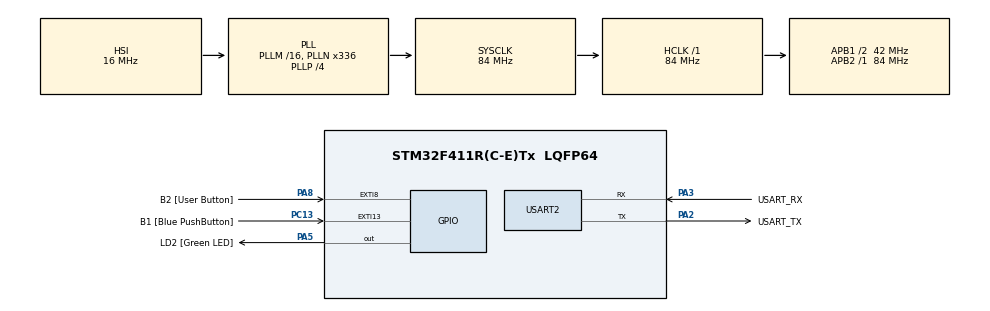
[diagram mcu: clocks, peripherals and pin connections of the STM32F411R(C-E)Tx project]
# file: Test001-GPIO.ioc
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Mcu.Family=STM32F4
Mcu.Name=STM32F411R(C-E)Tx
Mcu.Package=LQFP64
NVIC.EXTI15_10_IRQn=true\:0\:0\:false\:false\:true\:true\:true\:true
NVIC.EXTI9_5_IRQn=true\:0\:0\:false\:false\:true\:true\:true\:true
NVIC.PriorityGroup=NVIC_PRIORITYGROUP_0
PA13.GPIO_Label=TMS
PA13.Mode=Serial_Wire
PA13.Signal=SYS_JTMS-SWDIO
PA14.GPIO_Label=TCK
PA14.Mode=Serial_Wire
PA14.Signal=SYS_JTCK-SWCLK
PA2.GPIO_Label=USART_TX
PA2.Mode=Asynchronous
PA2.Signal=USART2_TX
PA3.GPIO_Label=USART_RX
PA3.Mode=Asynchronous
PA3.Signal=USART2_RX
PA5.GPIO_Label=LD2 [Green LED]
PA5.Signal=GPIO_Output
PA8.GPIO_Label=B2 [User Button]
PA8.Signal=GPXTI8
PB3.GPIO_Label=SWO
PB3.Signal=SYS_JTDO-SWO
PC13-ANTI_TAMP.GPIO_Label=B1 [Blue PushButton]
PC13-ANTI_TAMP.GPIO_ModeDefaultEXTI=GPIO_MODE_IT_FALLING
PC13-ANTI_TAMP.Signal=GPXTI13
PC14-OSC32_IN.Mode=LSE-External-Oscillator
PC14-OSC32_IN.Signal=RCC_OSC32_IN
PC15-OSC32_OUT.Mode=LSE-External-Oscillator
PC15-OSC32_OUT.Signal=RCC_OSC32_OUT
PH0\ -\ OSC_IN.Mode=HSE-External-Clock-Source
PH0\ -\ OSC_IN.Signal=RCC_OSC_IN
PH1\ -\ OSC_OUT.Mode=HSE-External-Clock-Source
PH1\ -\ OSC_OUT.Signal=RCC_OSC_OUT
ProjectManager.HeapSize=0x200
ProjectManager.StackSize=0x400
ProjectManager.TargetToolchain=STM32CubeIDE
RCC.48MHZClocksFreq_Value=84000000
RCC.AHBFreq_Value=84000000
RCC.APB1CLKDivider=RCC_HCLK_DIV2
RCC.APB1Freq_Value=42000000
RCC.APB1TimFreq_Value=84000000
RCC.APB2Freq_Value=84000000
RCC.APB2TimFreq_Value=84000000
RCC.CortexFreq_Value=84000000
RCC.FLatency-AdvancedSettings=FLASH_LATENCY_2
RCC.HCLKFreq_Value=84000000
RCC.HSE_VALUE=8000000
RCC.HSI_VALUE=16000000
RCC.PLLN=336
RCC.PLLP=RCC_PLLP_DIV4
RCC.SYSCLKFreq_VALUE=84000000
RCC.SYSCLKSource=RCC_SYSCLKSOURCE_PLLCLK
RCC.VCOOutputFreq_Value=336000000
USART2.VirtualMode=VM_ASYNC
board=NUCLEO-F411RE

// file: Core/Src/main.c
/* USER CODE BEGIN Header */
/**
  ******************************************************************************
  * @file           : main.c
  * @brief          : Main program body
  ******************************************************************************
  * @attention
  *
  * Copyright (c) 2024 STMicroelectronics.
  * All rights reserved.
  *
  * This software is licensed under terms that can be found in the LICENSE file
  * in the root directory of this software component.
  * If no LICENSE file comes with this software, it is provided AS-IS.
  *
  ******************************************************************************
  */
/* USER CODE END Header */
#include "main.h"

/* USER CODE BEGIN Includes */
#include "myLib.h"
#include <stdio.h>
/* USER CODE END Includes */

UART_HandleTypeDef huart2;

/* USER CODE BEGIN PV */
char s[200];	// 출력 버퍼
char b[100];	// Input buffer
/* USER CODE END PV */

void SystemClock_Config(void);
static void MX_GPIO_Init(void);
static void MX_USART2_UART_Init(void);

/* USER CODE BEGIN 0 */
int mode = 0;
int count = 0;
void HAL_GPIO_EXTI_Callback(uint16_t GPIO_Pin)  // EXTI15(B1) ISR
{
	switch(GPIO_Pin)
	{
	case B1_Pin:
		mode ++;
		if(mode > 1) mode = 0;
		break;
	case B2_Pin:
		printf("%d times pressed\r\n", count++);
		//sprintf(s, "%d times pressed", count++); puts(s);
		break;
	}
}

/* USER CODE END 0 */

int main(void)
{

  /* MCU Configuration--------------------------------------------------------*/

  /* Reset of all peripherals, Initializes the Flash interface and the Systick. */
  HAL_Init();

  /* Configure the system clock */
  SystemClock_Config();

  /* Initialize all configured peripherals */
  MX_GPIO_Init();
  MX_USART2_UART_Init();
  /* USER CODE BEGIN 2 */

  ProgramStart("GPIO");
  setvbuf(stdin, NULL, _IONBF, 0);  // input buffer clear
  int i; scanf("%d", &i);
  printf("your input number : %d\r\n", i);
  count = i;
  /* USER CODE END 2 */

  /* Infinite loop */
  /* USER CODE BEGIN WHILE */
  while (1)
  {
	  //int a = HAL_GPIO_ReadPin(GPIOC, GPIO_PIN_13);  // PC13 : B1
	  if(mode == 1)
	  {
		  HAL_GPIO_WritePin(LD2_GPIO_Port, LD2_Pin, 1);  //PA5
		  HAL_Delay(500); // 500 ms
		  HAL_GPIO_WritePin(LD2_GPIO_Port, LD2_Pin, 0);
		  HAL_Delay(500); // 500 ms
	  }
    /* USER CODE END WHILE */

  }
}

void SystemClock_Config(void)
{
  RCC_OscInitTypeDef RCC_OscInitStruct = {0};
  RCC_ClkInitTypeDef RCC_ClkInitStruct = {0};

  /** Configure the main internal regulator output voltage
  */
  __HAL_RCC_PWR_CLK_ENABLE();
  __HAL_PWR_VOLTAGESCALING_CONFIG(PWR_REGULATOR_VOLTAGE_SCALE1);

  /** Initializes the RCC Oscillators according to the specified parameters
  * in the RCC_OscInitTypeDef structure.
  */
  RCC_OscInitStruct.OscillatorType = RCC_OSCILLATORTYPE_HSI;
  RCC_OscInitStruct.HSIState = RCC_HSI_ON;
  RCC_OscInitStruct.HSICalibrationValue = RCC_HSICALIBRATION_DEFAULT;
  RCC_OscInitStruct.PLL.PLLState = RCC_PLL_ON;
  RCC_OscInitStruct.PLL.PLLSource = RCC_PLLSOURCE_HSI;
  RCC_OscInitStruct.PLL.PLLM = 16;
  RCC_OscInitStruct.PLL.PLLN = 336;
  RCC_OscInitStruct.PLL.PLLP = RCC_PLLP_DIV4;
  RCC_OscInitStruct.PLL.PLLQ = 4;
  if (HAL_RCC_OscConfig(&RCC_OscInitStruct) != HAL_OK)
  {
    Error_Handler();
  }

  /** Initializes the CPU, AHB and APB buses clocks
  */
  RCC_ClkInitStruct.ClockType = RCC_CLOCKTYPE_HCLK|RCC_CLOCKTYPE_SYSCLK
                              |RCC_CLOCKTYPE_PCLK1|RCC_CLOCKTYPE_PCLK2;
  RCC_ClkInitStruct.SYSCLKSource = RCC_SYSCLKSOURCE_PLLCLK;
  RCC_ClkInitStruct.AHBCLKDivider = RCC_SYSCLK_DIV1;
  RCC_ClkInitStruct.APB1CLKDivider = RCC_HCLK_DIV2;
  RCC_ClkInitStruct.APB2CLKDivider = RCC_HCLK_DIV1;

  if (HAL_RCC_ClockConfig(&RCC_ClkInitStruct, FLASH_LATENCY_2) != HAL_OK)
  {
    Error_Handler();
  }
}

static void MX_USART2_UART_Init(void)
{

  huart2.Instance = USART2;
  huart2.Init.BaudRate = 115200;
  huart2.Init.WordLength = UART_WORDLENGTH_8B;
  huart2.Init.StopBits = UART_STOPBITS_1;
  huart2.Init.Parity = UART_PARITY_NONE;
  huart2.Init.Mode = UART_MODE_TX_RX;
  huart2.Init.HwFlowCtl = UART_HWCONTROL_NONE;
  huart2.Init.OverSampling = UART_OVERSAMPLING_16;
  if (HAL_UART_Init(&huart2) != HAL_OK)
  {
    Error_Handler();
  }

}

static void MX_GPIO_Init(void)
{
  GPIO_InitTypeDef GPIO_InitStruct = {0};

  /* GPIO Ports Clock Enable */
  __HAL_RCC_GPIOC_CLK_ENABLE();
  __HAL_RCC_GPIOH_CLK_ENABLE();
  __HAL_RCC_GPIOA_CLK_ENABLE();
  __HAL_RCC_GPIOB_CLK_ENABLE();

  /*Configure GPIO pin Output Level */
  HAL_GPIO_WritePin(LD2_GPIO_Port, LD2_Pin, GPIO_PIN_RESET);

  /*Configure GPIO pin : B1_Pin */
  GPIO_InitStruct.Pin = B1_Pin;
  GPIO_InitStruct.Mode = GPIO_MODE_IT_FALLING;
  GPIO_InitStruct.Pull = GPIO_NOPULL;
  HAL_GPIO_Init(B1_GPIO_Port, &GPIO_InitStruct);

  /*Configure GPIO pin : LD2_Pin */
  GPIO_InitStruct.Pin = LD2_Pin;
  GPIO_InitStruct.Mode = GPIO_MODE_OUTPUT_PP;
  GPIO_InitStruct.Pull = GPIO_NOPULL;
  GPIO_InitStruct.Speed = GPIO_SPEED_FREQ_LOW;
  HAL_GPIO_Init(LD2_GPIO_Port, &GPIO_InitStruct);

  /*Configure GPIO pin : B2_Pin */
  GPIO_InitStruct.Pin = B2_Pin;
  GPIO_InitStruct.Mode = GPIO_MODE_IT_RISING;
  GPIO_InitStruct.Pull = GPIO_NOPULL;
  HAL_GPIO_Init(B2_GPIO_Port, &GPIO_InitStruct);

  /* EXTI interrupt init*/
  HAL_NVIC_SetPriority(EXTI9_5_IRQn, 0, 0);
  HAL_NVIC_EnableIRQ(EXTI9_5_IRQn);

  HAL_NVIC_SetPriority(EXTI15_10_IRQn, 0, 0);
  HAL_NVIC_EnableIRQ(EXTI15_10_IRQn);

}

void Error_Handler(void)
{
  __disable_irq();
  while (1)
  {
  }
}
